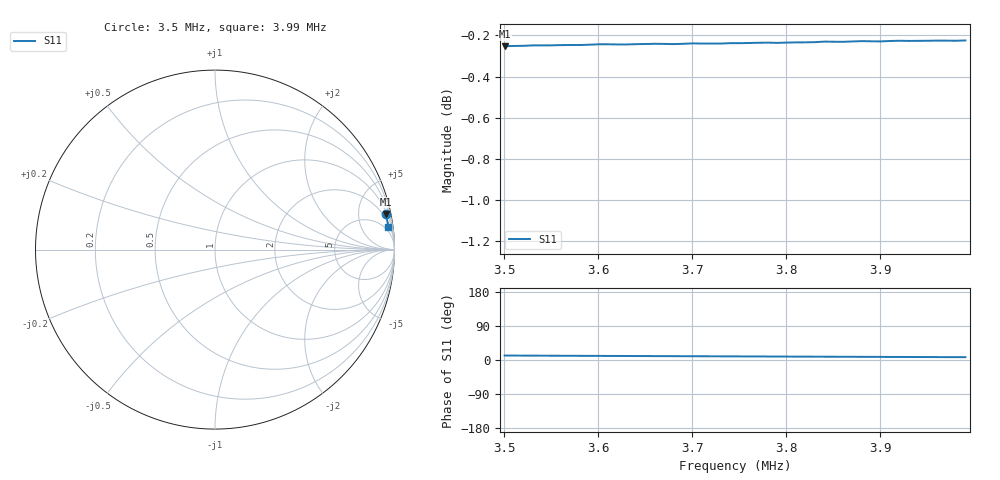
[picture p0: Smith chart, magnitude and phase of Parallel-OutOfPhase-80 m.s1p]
# HZ S RI R 50
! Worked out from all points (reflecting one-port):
!   50 points, 3.5 MHz to 3.99 MHz, reference 50 ohm
!   lowest |S11| = -0.3 dB at 3.5 MHz (marker M1), VSWR 68.71, Z = 67.8 + j475 ohm
!   phase of S11 starts at 12 deg and turns -4 deg over the sweep
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3500200  0.9509 0.1983
3520208  0.9517 0.1954
3530212  0.9523 0.1937
3560224  0.9534 0.1888
3570228  0.9537 0.1875
3580232  0.954 0.186
3600240  0.955 0.1828
3630252  0.9558 0.1783
3660264  0.957 0.1736
3680272  0.9574 0.1707
3690276  0.9578 0.1692
3700280  0.9583 0.1677
3730292  0.959 0.1631
3750300  0.9597 0.1604
3770308  0.9604 0.1572
3780312  0.9607 0.156
3800320  0.9612 0.1528
3810324  0.9615 0.1515
3820328  0.9618 0.1502
3830332  0.9621 0.1485
3840336  0.9626 0.1472
3860344  0.9629 0.1444
3870348  0.9634 0.1429
3880352  0.9638 0.1415
3900360  0.964 0.1387
3920368  0.9648 0.136
3930372  0.9649 0.1345
3990396  0.9662 0.1262
